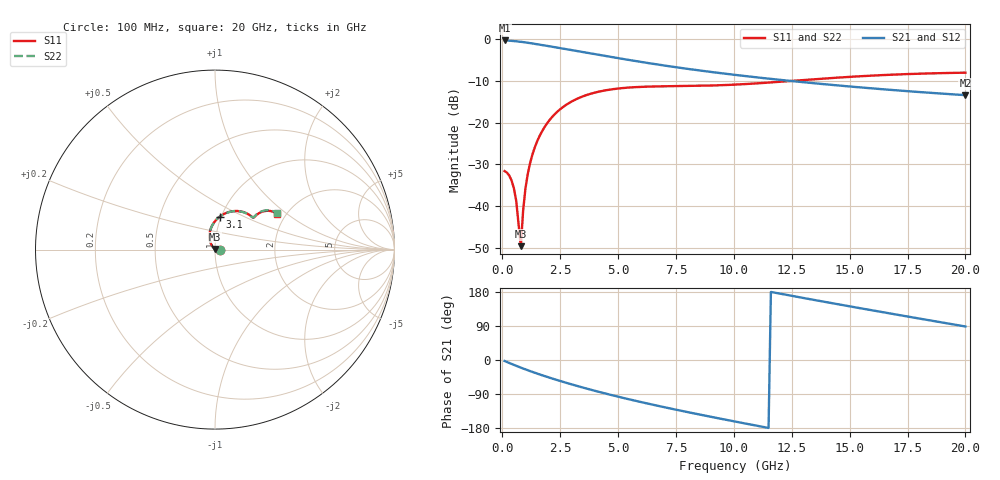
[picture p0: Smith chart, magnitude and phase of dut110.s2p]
! Touchstone file exported from HFSS 2023.1.0
!  File:  D:/Users/fzz/RDL_TSV/temp_RDL_TSV_110_1778749713.aedt
!  Generated:  5:21:57 %x4E0B%x5348  5%x6708 14, 2026
!  Design:  RDL_TSV
!  Project:  temp_RDL_TSV_110_1778749713
!  Setup:  Setup1
!  Solution:  Sweep
! Variables:
!  dtsv = 17.02um
!  hbump = 3um
!  htsv = 85.73um
!  ldown = 405.46um
!  lrdl = 583.16um
!  p = 40
!  p1 = 55.2um
!  rhole = 10um
!  subl = 3549.02um
!  t = 450um
!  tdown = 3.14um
!  trdl = 2.77um
!  viad = 10um
!  wdown = 12.54um
!  wrdl = 18.31um
!  xbump = 18um
# GHz S MA R 50.000000
! Terminal data exported
! Port[1] = TM1_1_T1
! Port[2] = TM1_4_T1
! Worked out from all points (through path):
!   200 points, 100 MHz to 20 GHz, reference 50 ohm
!   highest |S21| = -0.24 dB at 100 MHz (marker M1); lowest = -13.4 dB at 20 GHz (marker M2)
!   group delay of S21, straight-line fit = 35.4 ps
!   lowest |S11| = -49.6 dB at 800 MHz (marker M3), VSWR 1.01, Z = 50.1 + j0.321 ohm
!   |S11| at or under -10 dB: start of sweep to 12.4 GHz
!   |S22| runs from -49.7 to -7.9 dB; largest |S21 - S12| = 8.2e-15
!   S11 on the Smith chart (normalised r, x): 100 MHz: 1.05, -0.00; 3.1 GHz: 0.98, +0.38; 20 GHz: 1.80, +0.85
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0.1  0.02625 -2.1  0.9726 -2.6  0.9726 -2.6  0.02625 -2.1
! Gamma 0 0 0 0
! Port Impedance 50 0 50 0
0.3  0.02322 -6.8  0.9668 -7.8  0.9668 -7.8  0.02323 -6.8
0.5  0.01636 -10.8  0.9569 -12.9  0.9569 -12.9  0.01637 -10.8
0.6  0.01157 -10.0  0.9508 -15.3  0.9508 -15.3  0.01159 -10.0
0.8  0.003293 76.8  0.9368 -20.1  0.9368 -20.1  0.003273 76.2
0.9  0.008832 122.5  0.9291 -22.5  0.9291 -22.5  0.008783 122.4
1  0.01625 128.3  0.9209 -24.8  0.9209 -24.8  0.01619 128.3
1.1  0.02426 128.3  0.9125 -27.0  0.9125 -27.0  0.02419 128.3
1.2  0.03267 126.7  0.9038 -29.3  0.9038 -29.3  0.03259 126.7
1.4  0.05024 121.8  0.886 -33.6  0.886 -33.6  0.05013 121.8
1.7  0.07735 113.7  0.8587 -39.9  0.8587 -39.9  0.07721 113.7
2.1  0.1127 103.2  0.8226 -47.8  0.8226 -47.8  0.1125 103.3
2.6  0.1527 91.6  0.7786 -57.2  0.7786 -57.2  0.1524 91.7
3.1  0.1863 81.7  0.7366 -66.2  0.7366 -66.2  0.186 81.7
3.5  0.2083 74.7  0.7043 -73.1  0.7043 -73.1  0.2079 74.8
5.1  0.2591 54.7  0.59 -98.3  0.59 -98.3  0.2584 54.8
6.8  0.2734 43.8  0.4956 -122.0  0.4956 -122.0  0.2725 44.0
8.3  0.2768 40.2  0.4322 -141.2  0.4322 -141.2  0.276 40.4
10.1  0.2873 39.6  0.374 -163.0  0.374 -163.0  0.2869 40.0
13.4  0.3315 39.1  0.2991 159.2  0.2991 159.2  0.3323 39.5
16.7  0.3763 34.8  0.2488 123.3  0.2488 123.3  0.3782 35.2
20  0.399 30.0  0.2144 88.5  0.2144 88.5  0.4016 30.2
